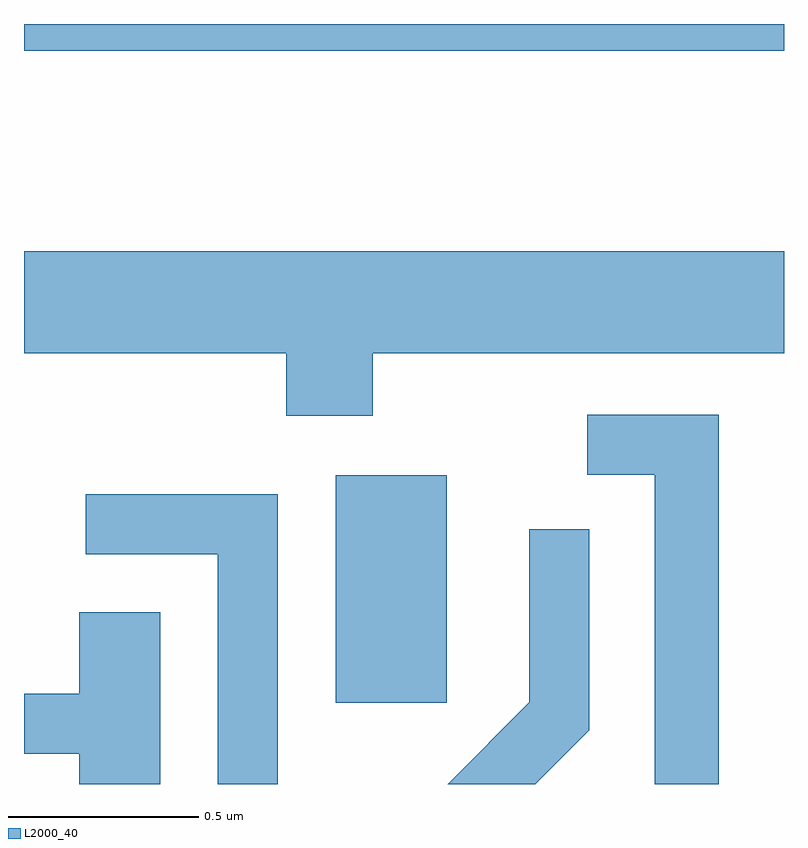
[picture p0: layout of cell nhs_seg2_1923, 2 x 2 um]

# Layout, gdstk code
import gdstk
lib = gdstk.Library(unit=1e-6, precision=1e-09)
def R(c, l, rs):  # rectangles x0, y0, x1, y1
    for r in rs: c.add(gdstk.rectangle(r[:2], r[2:], *l))
def P(c, l, *ps):  # polygons
    for p in ps: c.add(gdstk.Polygon(p, *l))
L2000_40 = (2000, 40)

nhs_seg2_1923 = lib.new_cell('nhs_seg2_1923')
R(nhs_seg2_1923, L2000_40, [(200.431,983.016,200.724,983.614), (199.611,984.731,201.611,984.802)])
P(nhs_seg2_1923, L2000_40, [(200.529,983.936),(201.611,983.936),(201.611,984.204),(199.611,984.204),(199.611,983.936),(200.301,983.936),(200.301,983.771),(200.529,983.771)],
  [(201.439,983.774),(201.093,983.774),(201.093,983.616),(201.271,983.616),(201.271,982.802),(201.439,982.802)],
  [(200.279,983.564),(199.773,983.564),(199.773,983.406),(200.121,983.406),(200.121,982.802),(200.279,982.802)],
  [(201.099,982.944),(201.099,983.473),(200.941,983.473),(200.941,983.017),(200.726,982.802),(200.957,982.802)],
  [(199.969,983.254),(199.756,983.254),(199.756,983.039),(199.611,983.039),(199.611,982.881),(199.756,982.881),(199.756,982.802),(199.969,982.802)])

lib.write_gds('nhs_seg2_1923.gds')
